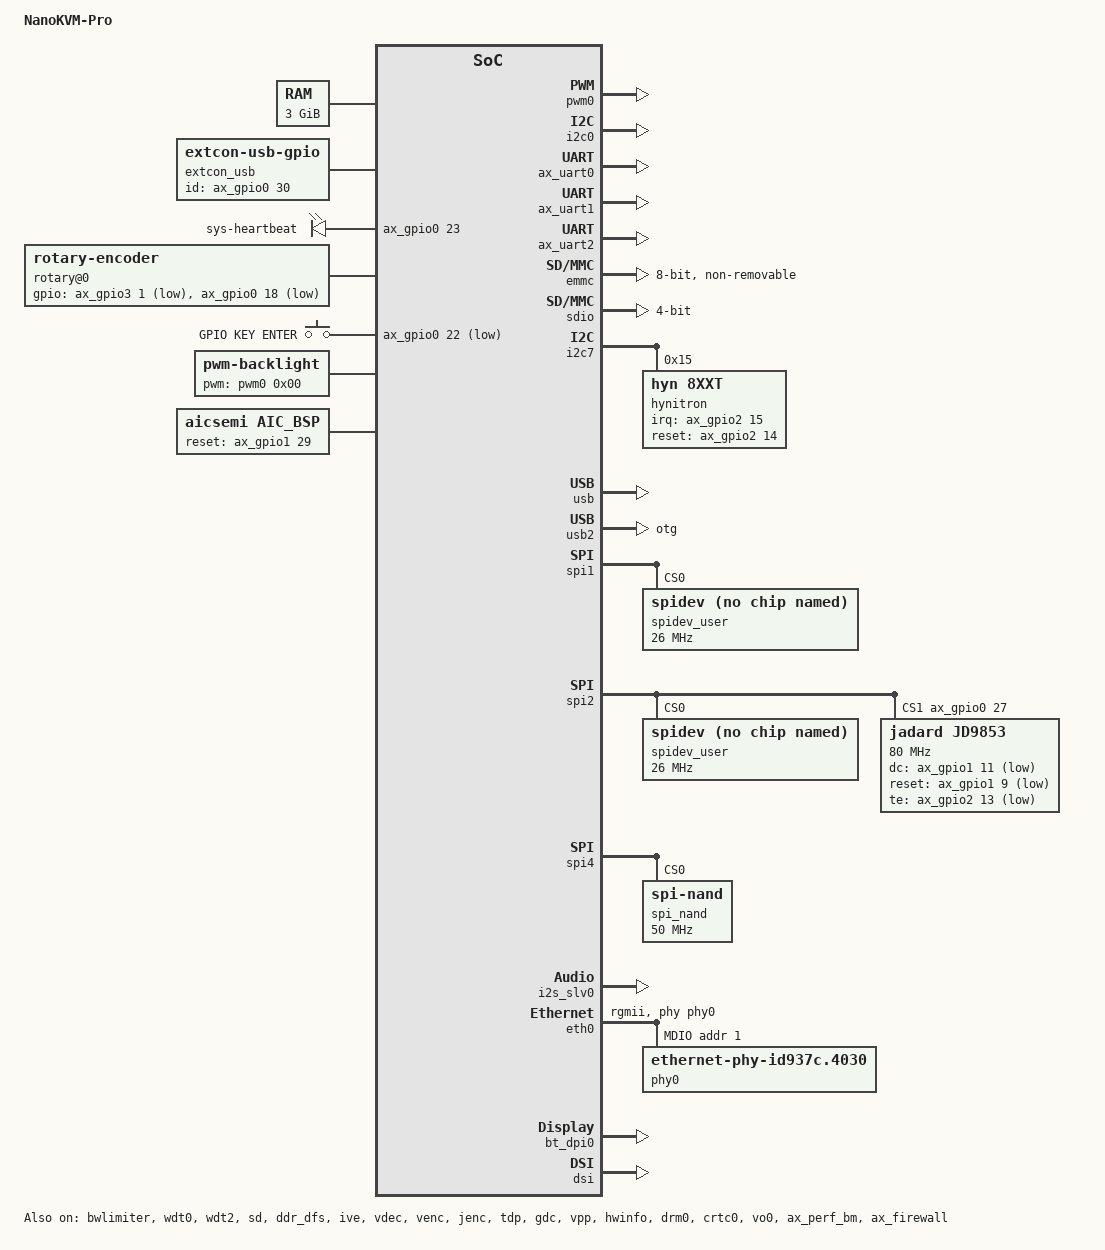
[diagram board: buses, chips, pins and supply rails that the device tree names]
// SPDX-License-Identifier: GPL-2.0
/**************************************************************************************************
 *
 * Copyright (c) 2019-2024 Axera Semiconductor Co., Ltd. All Rights Reserved.
 *
 * This dts file is the property of Axera Semiconductor Co., Ltd. and
 * may not be copied or distributed in any isomorphic form without the prior
 * written consent of Axera Semiconductor Co., Ltd.
 *
 **************************************************************************************************/

/dts-v1/;
#include "AX620E.dtsi"
/ {
	model = "NanoKVM-Pro";

	memory@40000000 {
		device_type = "memory";
		reg = <0x0 0x40000000 0x0 0xc0000000>;
	};
	reserved-memory {
		#address-cells = <2>;
		#size-cells = <2>;
		ranges;
/*
		boot_logo_reserved@70000036 {
			reg = <0x00 0x70000036 0x00 0x34bc00>;
			id = <0x00>;
			compatible = "boot_logo";
		};
*/
		ramoops_mem@48000000 {
			compatible = "ramoops";
			reg = <0x0 0x48000000 0x0 0xf0000>;
			record-size = <0x40000>;
			console-size = <0x80000>;
			ftrace-size = <0x20000>;
		};
		axera_memory_dump@0 {
			compatible = "axera_memory_dump";
			reg = <0x0 0x480f0000 0x0 0x3000>;
			dump_ranges = <0x00 0x40001000 0x01 0x00>;
			no-map;
		};
		atf_reserved: atf_memreserved {
			reg = <ATF_RESERVED_START_HI ATF_RESERVED_START_LO ATF_RESERVED_SIZE_HI ATF_RESERVED_SIZE_LO>;
			no-map;
		};
#ifdef OPTEE_BOOT
		optee_reserved: optee_memserved {
			reg = <OPTEE_RESERVED_START_HI OPTEE_RESERVED_START_LO OPTEE_RESERVED_SIZE_HI OPTEE_RESERVED_SIZE_LO>;
			no-map;
		};
#endif
		axera_ddr_retrain@0 {
			compatible = "axera_ddr_retrain";
			reg = <0x0 0x40000000 0x0 0x1000>;
		};
	};

	chosen {
		bootargs = "mem=704M earlycon=uart8250,mmio32,0x4880000 board_id=0x5,boot_reason=0x00,initcall_debug=0 loglevel=8 usbcore.autosuspend=-1 root=/dev/mmcblk0p17 rootfstype=ext4 rw rootwait blkdevparts=mmcblk0:768K(spl),512K(ddrinit),256K(atf),256K(atf_b),1536K(uboot),1536K(uboot_b),1M(env),6M(logo),6M(logo_b),1M(optee),1M(optee_b),1M(dtb),1M(dtb_b),64M(kernel),64M(kernel_b),128M(boot),-(rootfs) logomode=vo0@dpi logomode=vo0@dsi_dpi_video";
	};

	dummy_codec: dummy-codec {
		compatible = "dummy-codec";
		#sound-dai-cells = <0>;
	};

	sound {
		status = "okay";
		compatible = "simple-audio-card";
		simple-audio-card,name = "Lontium Lt6911UXC";
		simple-audio-card,format = "i2s";
		simple-audio-card,bitclock-master = <&codec>;
		simple-audio-card,frame-master = <&codec>;

		simple-audio-card,cpu {
			sound-dai = <&i2s_slv0>;
		};
		codec: simple-audio-card,codec {
			sound-dai = <&dummy_codec>;
		};
	};

	vfb0: vfb@0 {
		compatible = "axera,vfb";
		id = <0>;
		width = <480>;
		height = <640>;
		bpp = <32>;
		buf-num = <2>;
		status = "disabled";
	};

	vfb1: vfb@1 {
		compatible = "axera,vfb";
		id = <1>;
		width = <1920>;
		height = <1080>;
		bpp = <32>;
		buf-num = <2>;
		status = "disabled";
	};

	vfb2: vfb@2 {
		compatible = "axera,vfb";
		id = <2>;
		width = <64>;
		height = <64>;
		bpp = <32>;
		buf-num = <1>;
		cursor;
		status = "disabled";
	};

	axera_logctl {
		compatible = "axera,logctl";
		config = "/etc/ax_syslog.conf";
		logstate = /bits/ 8 <1 1>;
		loglevel = /bits/ 8 <4 4>;
	};

	extcon_usb: extcon_usb {
		compatible = "linux,extcon-usb-gpio";
		id-gpio = <&ax_gpio0 30 0>; /* GPIO0_A30 */
		status = "okay";
	};

	leds {
		status = "okay";
		compatible = "gpio-leds";
		pinctrl-names = "default";
		pinctrl-0 = <&sd_pwr_en_gpio0_a23_pins>;

		led-heartbeat {
			label = "sys-heartbeat";
			gpios = <&ax_gpio0 23 0x00>;
			linux,default-trigger = "heartbeat";
			status = "okay";
		};
	};

	rotary@0 {
		status = "okay";
		compatible = "rotary-encoder";
		pinctrl-names = "default";
		pinctrl-0 = <&gpio3_a1_pins &bond2_gpio0_a18_pins>;
		gpios = <&ax_gpio3 1 0x01 &ax_gpio0 18 0x01>;
		linux,axis = <0x00>;
		rotary-encoder,encoding = "gray";
		rotary-encoder,relative-axis;
		rotary-encoder,steps-per-period = <0x04>;
	};

	gpio_keys {
		status = "okay";
		compatible = "gpio-keys";
		pinctrl-names = "default";
		pinctrl-0 = <&tck_gpio0_a22_pins>;
		autorepeat;

		rokey {
			label = "GPIO KEY ENTER";
			linux,code = <0x1c>;
			gpios = <&ax_gpio0 22 0x01>;
			debounce-interval = <0x0a>;
		};
	};

	backlight {
		status = "okay";
		compatible = "pwm-backlight";
		pwms = <&pwm0 0x00 0x71073>;
		brightness-levels = <0x00 0x65>;
		num-interpolated-steps = <0x64>;
		default-brightness-level = <0x64>;
	};

	aic_bsp {
		compatible = "aicsemi,aic_bsp";
		reset-gpio = <&ax_gpio1 29 0x00>;
		pinctrl-names = "default";
		pinctrl-0 = <&ephy_led1_gpio1_a29_pins>;
		status = "okay";
	};
};

&pwm0 {
	pinctrl-names = "default";
	pinctrl-0 = <&emac_ptp_pps0_pwm0_m_pins>;
	status = "okay";
};

&pwm1 {
	status = "disabled";
};

&pwm2 {
	status = "disabled";
};

&deb_gpio_lp {
	lp-status = <11 1>;/* use db_gpio11 as wakeup source */
	status = "okay";
};

&bwlimiter {
	status = "okay";
};

&i2c0 {
	status = "okay";
	/delete-property/ pinctrl-names;
	/delete-property/ pinctrl-0;
	/delete-property/ pinctrl-1;
};

&i2c1 {
	/delete-property/ pinctrl-names;
	/delete-property/ pinctrl-0;
	/delete-property/ pinctrl-1;
};

&i2c2 {
	status = "disabled";
};

&i2c3 {
	status = "disabled";
};

&i2c_slv0 {
	status = "disabled";
	#address-cells = <0x1>;
	#size-cells = <0x0>;
	i2c_slave_eeprom: i2c_slave_eeprom@55 {
		compatible = "axera,slave-24c02";
		reg = <0x40000055>;
		status = "okay";
	};
};

&ax_uart0 {
	status = "okay";
};

&ax_uart1 {
	status = "okay";
};

&ax_uart2 {
	status = "okay";
};

&ax_uart5 {
	status = "disabled";
	pinctrl-names = "default";
	pinctrl-0 = <&emac_ptp_pps0_uart5_cts_pins
		&emac_ptp_pps1_uart5_rts_pins
		&emac_ptp_pps2_uart5_txd_pins
		&emac_ptp_pps3_uart5_rxd_pins>;
};

&wdt0 {
	status = "okay";
};

&wdt2 {
	status = "okay";
};

&emmc{
	max-frequency = <200000000>;
	sdhci-caps-mask = <0x2 0x03200000>;
	bus-width = <8>;
	no-sdio;
	no-sd;
	non-removable;
	disable-wp;
	cap-mmc-hw-reset;
	/* AX630C use GPIO2_A23 */
	hw-reset = <&ax_gpio2 23 0>;
	/* AX620Q use GPIO1_A0 */
	/* hw-reset = <&ax_gpio1 0 0>; */
	cap-mmc-highspeed;
	mmc-hs200-1_8v;
	mmc-hs400-1_8v;
	mmc-hs400-enhanced-strobe;
	cdns,phy-input-delay-sd-highspeed = <2>;
	cdns,phy-input-delay-legacy = <4>;
	cdns,phy-input-delay-sd-uhs-sdr12 = <1>;
	cdns,phy-input-delay-sd-uhs-sdr25 = <2>;
	cdns,phy-input-delay-sd-uhs-sdr50 = <1>;
	cdns,phy-input-delay-sd-uhs-ddr50 = <2>;
	cdns,phy-input-delay-mmc-legacy = <1>;
	cdns,phy-input-delay-mmc-highspeed = <2>;
	cdns,phy-input-delay-mmc-ddr = <2>;
	cdns,phy-dll-delay-sdclk = <45>;
	cdns,phy-dll-delay-sdclk-hsmmc = <31>;
	cdns,phy-dll-delay-strobe = <18>;
	fixed-emmc-driver-type = <4>;
	status = "okay";
};

&sd{
	sdhci-caps-mask = <0x7 0x00200000>;
	bus-width = <4>;
	max-frequency = <200000000>;
	cap-sd-highspeed;
	sd-uhs-sdr12;
	sd-uhs-sdr25;
	sd-uhs-sdr50;
	sd-uhs-ddr50;
	sd-uhs-sdr104;
	no-sdio;
	no-mmc;
	disable-wp;
#if 1
	broken-cd;
#else
	cd-gpios = <&ax_gpio1 11 0>;
	cd-inverted;
	cd-debounce-delay-ms = <300>;
#endif

	cdns,phy-input-delay-sd-highspeed = <2>;
	cdns,phy-input-delay-legacy = <3>;
	cdns,phy-input-delay-sd-uhs-sdr12 = <3>;
	cdns,phy-input-delay-sd-uhs-sdr25 = <2>;
	cdns,phy-input-delay-sd-uhs-sdr50 = <1>;
	cdns,phy-input-delay-sd-uhs-ddr50 = <1>;
	cdns,phy-dll-delay-sdclk = <0>;

	status = "okay";
};

&sdio{
	sdhci-caps-mask = <0x7 0x00200000>;
	bus-width = <4>;
	max-frequency = <200000000>;
	cap-sd-highspeed;
	sd-uhs-sdr25;
	sd-uhs-sdr12;
	sd-uhs-sdr50;
	sd-uhs-ddr50;
	//sd-uhs-sdr104;
	no-1-8-v;
	no-sd;
	no-mmc;
	disable-wp;
	broken-cd;
	//vol-sw-gpio = <&ax_gpio0 17 0>;
	cdns,phy-input-delay-sd-highspeed = <2>;
	cdns,phy-input-delay-legacy = <3>;
	cdns,phy-input-delay-sd-uhs-sdr12 = <3>;
	cdns,phy-input-delay-sd-uhs-sdr25 = <2>;
	cdns,phy-input-delay-sd-uhs-sdr50 = <1>;
	cdns,phy-input-delay-sd-uhs-ddr50 = <1>;
	cdns,phy-dll-delay-sdclk = <0>;

	status = "okay";
};

&i2c4 {
	status = "disabled";
};

&i2c6 {
	/delete-property/ pinctrl-names;
	/delete-property/ pinctrl-0;
	/delete-property/ pinctrl-1;
};

&i2c7 {
	#address-cells = <1>;
	#size-cells = <0>;
	status = "okay";
	/delete-property/ pinctrl-names;
	/delete-property/ pinctrl-0;
	/delete-property/ pinctrl-1;

	hynitron: hynitron@15 {
		compatible = "hyn,8xxt";
		reg = <0x15>;
		pinctrl-names = "ts_active", "ts_suspend";
		pinctrl-0 = <&cdtx_l2p_gpio2_a15_pins &cdtx_l2n_gpio2_a14_pins>;
		pinctrl-1 = <&cdtx_l2p_gpio2_a15_pins &cdtx_l2n_gpio2_a14_pins>;
		irq-gpio = <&ax_gpio2 15 0x00>;
		reset-gpio = <&ax_gpio2 14 0x00>;
		max-touch-number = <0x05>;
		display-coords = <0x00 0x00 0xac 0x140>;
		pos-swap = <0x00>;
		posx-reverse = <0x00>;
		posy-reverse = <0x00>;
		status = "okay";
	};
};

&usb {
	status = "okay";
};

&usb2 {
	dr_mode = "otg";
	extcon = <&extcon_usb>;
};

&spi0 {
       status = "disabled";
       spidev_user@0 {
               status = "okay";
               compatible = "axera,spidev";
               reg = <0>;
               spi-max-frequency = <26000000>;
       };
};

&spi1 {
	status = "okay";
	pinctrl-0 = <&vi_d0_spi_m1_mosi_pins>;
	/delete-property/ cs-gpios;

	spidev_user@0 {
		status = "okay";
		compatible = "axera,spidev";
		reg = <0>;
		spi-max-frequency = <26000000>;
	};
};

&spi2 {
	status = "okay";
	pinctrl-0 = <&uart3_txd_spi_m2_mosi_pins
		&i2c1_scl_spi_m2_sclk_pins
		&i2c1_sda_gpio0_a27_pins
		&emac_ptp_pps3_gpio1_a11_pins
		&emac_ptp_pps1_gpio1_a9_pins
		&cdtx_l1p_gpio2_a13_pins>;
	cs-gpios = <0>, <&ax_gpio0 27 0>;
	num-cs = <2>;

	spidev_user@0 {
		status = "okay";
		compatible = "axera,spidev";
		reg = <0>;
		spi-max-frequency = <26000000>;
	};

	jd9853: jd9853@1 {
		compatible = "jadard,jd9853";
		reg = <0x01>;
		status = "okay";
		spi-max-frequency = <0x4c4b400>;
		spi-cpol;
		spi-cpha;
		rotate = <0x00>;
		fps = <0x5a>;
		rgb;
		buswidth = <0x08>;
		dc-gpios = <&ax_gpio1 11 0x01>;
		reset-gpios = <&ax_gpio1 9 0x01>;
		te-gpios = <&ax_gpio2 13 0x01>;
		debug = <0x01>;
	};
};

&spi_slv {
       status = "disabled";
       stream-tx-gpio = <&ax_gpio2 13 0>;
       stream-rx-gpio = <&ax_gpio2 14 0>;
};

&spi4 {
	status = "okay";
	spi_nand@0 {
		compatible = "spi-nand";
		reg = <0>;
		rx-sample-delay-ns = <4>;
		spi-max-frequency = <50000000>;
	};
	/*spi_flash@0 {
		#address-cells = <1>;
		#size-cells = <1>;
		compatible = "jedec,spi-nor";
		reg = <0>;
		spi-max-frequency = <50000000>;
	};*/
};

&audio_codec {
	gpio-mic-rp = <&ax_gpio1 7 0>; /* GPIO1_A7 */
	gpio-mic-rn = <&ax_gpio1 6 0>; /* GPIO1_A6 */
	gpio-mic-ln = <&ax_gpio1 5 0>; /* GPIO1_A5 */
	gpio-mic-lp = <&ax_gpio1 4 0>; /* GPIO1_A4 */
	gpio-pa-speaker = <&ax_gpio1 17 0x00>;
	status = "disabled";
};
&i2s_inner_mst0 {
	status = "disabled";
	interrupt-names = "i2s_mst";
	interrupts = <GIC_SPI 147 IRQ_TYPE_LEVEL_HIGH>;
	/*i2s - pad0*/
	i2s-m-aec-cycle-sel = <0>;    /*23-22*/
	i2s-m-aec-sclk-sel = <0>;     /*21*/
	i2s-inner-codec-en = <1>;     /*20*/
	i2s-exter-codec-en = <0>;     /*19*/
	i2s-m-exter-codec-en = <0>;   /*18*/
	i2s-exter-codec-mst = <0>;    /*17*/
	i2s-m-exter-codec-mst = <0>;  /*16*/
	iis-out-tdm-en = <0>;         /*15*/
	iis-m-out-tdm-en = <0>;       /*14*/
	i2s-m-rx0-sel = <0>;          /*13*/
	i2s-m-rx1-sel = <0>;          /*12-11*/
	i2s-s-rx0-sel = <0>;          /*10-9*/
	i2s-s-rx1-sel = <2>;          /*8-7*/
	i2s-s-sclk-sel = <0>;         /*6-5*/
	tdm-m-rx-sel = <0>;           /*4-3*/
	tdm-s-rx-sel = <0>;           /*2-1*/
	tdm-s-sclk-sel = <0>;         /*0*/
};

&i2s_inner_slv0 {
	status = "disabled";
	interrupt-names = "i2s_slv";
	interrupts = <GIC_SPI 145 IRQ_TYPE_LEVEL_HIGH>;
	/*i2s - pad0*/
	i2s-m-aec-cycle-sel = <0>;    /*23-22*/
	i2s-m-aec-sclk-sel = <0>;     /*21*/
	i2s-inner-codec-en = <1>;     /*20*/
	i2s-exter-codec-en = <0>;     /*19*/
	i2s-m-exter-codec-en = <0>;   /*18*/
	i2s-exter-codec-mst = <0>;    /*17*/
	i2s-m-exter-codec-mst = <0>;  /*16*/
	iis-out-tdm-en = <0>;         /*15*/
	iis-m-out-tdm-en = <0>;       /*14*/
	i2s-m-rx0-sel = <0>;          /*13*/
	i2s-m-rx1-sel = <0>;          /*12-11*/
	i2s-s-rx0-sel = <0>;          /*10-9*/
	i2s-s-rx1-sel = <2>;          /*8-7*/
	i2s-s-sclk-sel = <0>;         /*6-5*/
	tdm-m-rx-sel = <0>;           /*4-3*/
	tdm-s-rx-sel = <0>;           /*2-1*/
	tdm-s-sclk-sel = <0>;         /*0*/
};

&i2s_mst0 {
	status = "disabled";
	interrupt-names = "i2s_mst";
	interrupts = <GIC_SPI 147 IRQ_TYPE_LEVEL_HIGH>;
	/*i2s - pad0*/
	i2s-m-aec-cycle-sel = <0>;    /*23-22*/
	i2s-m-aec-sclk-sel = <0>;     /*21*/
	i2s-inner-codec-en = <0>;     /*20*/
	i2s-exter-codec-en = <1>;     /*19*/
	i2s-m-exter-codec-en = <0>;   /*18*/
	i2s-exter-codec-mst = <1>;    /*17*/
	i2s-m-exter-codec-mst = <0>;  /*16*/
	iis-out-tdm-en = <0>;         /*15*/
	iis-m-out-tdm-en = <0>;       /*14*/
	i2s-m-rx0-sel = <0>;          /*13*/
	i2s-m-rx1-sel = <2>;          /*12-11*/
	i2s-s-rx0-sel = <0>;          /*10-9*/
	i2s-s-rx1-sel = <0>;          /*8-7*/
	i2s-s-sclk-sel = <0>;         /*6-5*/
	tdm-m-rx-sel = <0>;           /*4-3*/
	tdm-s-rx-sel = <0>;           /*2-1*/
	tdm-s-sclk-sel = <0>;         /*0*/
};

&i2s_slv0 {
	status = "okay";
	interrupt-names = "i2s_slv";
	interrupts = <GIC_SPI 145 IRQ_TYPE_LEVEL_HIGH>;
	/*i2s - pad0*/
	i2s-m-aec-cycle-sel = <0>;    /*23-22*/
	i2s-m-aec-sclk-sel = <0>;     /*21*/
	i2s-inner-codec-en = <0>;     /*20*/
	i2s-exter-codec-en = <1>;     /*19*/
	i2s-m-exter-codec-en = <0>;   /*18*/
	i2s-exter-codec-mst = <0>;    /*17*/
	i2s-m-exter-codec-mst = <0>;  /*16*/
	iis-out-tdm-en = <0>;         /*15*/
	iis-m-out-tdm-en = <0>;       /*14*/
	i2s-m-rx0-sel = <0>;          /*13*/
	i2s-m-rx1-sel = <0>;          /*12-11*/
	i2s-s-rx0-sel = <3>;          /*10-9*/
	i2s-s-rx1-sel = <0>;          /*8-7*/
	i2s-s-sclk-sel = <1>;         /*6-5*/
	tdm-m-rx-sel = <0>;           /*4-3*/
	tdm-s-rx-sel = <0>;           /*2-1*/
	tdm-s-sclk-sel = <0>;         /*0*/
};

&i2s_tdm_mst0 {
	status = "disabled";
	/*i2s - pad0*/
	i2s-m-aec-cycle-sel = <0>;    /*23-22*/
	i2s-m-aec-sclk-sel = <0>;     /*21*/
	i2s-inner-codec-en = <0>;     /*20*/
	i2s-exter-codec-en = <1>;     /*19*/
	i2s-m-exter-codec-en = <0>;   /*18*/
	i2s-exter-codec-mst = <1>;    /*17*/
	i2s-m-exter-codec-mst = <0>;  /*16*/
	iis-out-tdm-en = <1>;         /*15*/
	iis-m-out-tdm-en = <0>;       /*14*/
	i2s-m-rx0-sel = <0>;          /*13*/
	i2s-m-rx1-sel = <0>;          /*12-11*/
	i2s-s-rx0-sel = <0>;          /*10-9*/
	i2s-s-rx1-sel = <0>;          /*8-7*/
	i2s-s-sclk-sel = <0>;         /*6-5*/
	tdm-m-rx-sel = <0>;           /*4-3*/
	tdm-s-rx-sel = <0>;           /*2-1*/
	tdm-s-sclk-sel = <0>;         /*0*/
};

&i2s_tdm_slv0 {
	status = "disabled";
	/*i2s - pad0*/
	i2s-m-aec-cycle-sel = <0>;    /*23-22*/
	i2s-m-aec-sclk-sel = <0>;     /*21*/
	i2s-inner-codec-en = <0>;     /*20*/
	i2s-exter-codec-en = <1>;     /*19*/
	i2s-m-exter-codec-en = <0>;   /*18*/
	i2s-exter-codec-mst = <0>;    /*17*/
	i2s-m-exter-codec-mst = <0>;  /*16*/
	iis-out-tdm-en = <0>;         /*15*/
	iis-m-out-tdm-en = <0>;       /*14*/
	i2s-m-rx0-sel = <0>;          /*13*/
	i2s-m-rx1-sel = <0>;          /*12-11*/
	i2s-s-rx0-sel = <0>;          /*10-9*/
	i2s-s-rx1-sel = <0>;          /*8-7*/
	i2s-s-sclk-sel = <0>;         /*6-5*/
	tdm-m-rx-sel = <0>;           /*4-3*/
	tdm-s-rx-sel = <0>;           /*2-1*/
	tdm-s-sclk-sel = <0>;         /*0*/
};

#if 1
&eth0 {
	status = "okay";

	phy-handle = <&phy0>;
	phy-mode = "rgmii";
	phy-rst-gpio = <&ax_gpio1 27 0>; /* GPIO1_A27 */

	mdio {
		#address-cells = <1>;
		#size-cells = <0>;
		compatible = "snps,dwmac-mdio";
		phy0: jl2xxx-phy@1 {
			compatible = "ethernet-phy-id937c.4030";
			jl2xxx,led-enable = <JL2XXX_LED_CTRL_EN>;
			jl2xxx,led-mode = <JL2XXX_CFG_LED_MODE>;
			jl2xxx,led-period = <JL2XXX_GLOBAL_PERIOD_MS>;
			jl2xxx,led-on = <JL2XXX_GLOBAL_ON_MS>;
			jl2xxx,led-polarity = <JL2XXX_LED_POLARITY>;
			jl2xxx,patch-enable = <JL2XXX_PATCH_CTRL_EN>;
			jl2xxx,rgmii-enable = <JL2XXX_RGMII_CTRL_EN>;
			//jl2xxx,rgmii-tx-delay = <JL2XXX_RGMII_TX_DLY_2NS>;
			//jl2xxx,rgmii-rx-delay = <JL2XXX_RGMII_RX_DLY_2NS>;
			jl2xxx,clk-enable = <JL2XXX_CLK_CTRL_EN>;
			jl2xxx,fld-enable = <JL2XXX_FLD_CTRL_EN>;
			jl2xxx,fld-delay = <JL2XXX_FLD_DELAY>;
			jl2xxx,wol-enable = <JL2XXX_WOL_CTRL_EN>;
			jl2xxx,interrupt-enable = <JL2XXX_INTR_CTRL_EN>;
			jl2xxx,downshift-enable = <JL2XXX_DSFT_CTRL_EN>;
			jl2xxx,downshift-count = <JL2XXX_DSFT_AN_CNT>;
			jl2xxx,work_mode-enable = <JL2XXX_WORK_MODE_CTRL_EN>;
			jl2xxx,work_mode-mode = <JL2XXX_WOEK_MODE_MODE>;
			jl2xxx,lpbk-enable = <JL2XXX_LPBK_CTRL_EN>;
			jl2xxx,lpbk-mode = <JL2XXX_LPBK_MODE>;
			jl2xxx,slew_rate-enable = <JL2XXX_SLEW_RATE_CTRL_EN>;
			jl2xxx,rxc_out-enable = <JL2XXX_RXC_OUT_CTRL_EN>;
			reg = <1>;
		};
	};
};
#else
&eth0 {
	status = "okay";

	phy-handle = <&phy0>;
	phy-mode = "rmii";
	axera-ephy,led0-mode = <EPHY_LED_SPEED>;
	axera-ephy,led0-enable;
	axera-ephy,led1-mode = <EPHY_LED_LINK>;
	axera-ephy,led1-enable;
	axera-ephy,led-polarity = <EPHY_LED_LOW_ACTIVE>;
	mdio {
		#address-cells = <1>;
		#size-cells = <0>;
		compatible = "snps,dwmac-mdio";
		phy0: axera-ephy@1 {
			device_tpye = "ethernet-phy";
			compatible = "ethernet-phy-id0044.1400";
			reg = <1>;
		};
	};
};
#endif

&ddr_dfs {
       status = "okay";
};

&ive {
	status = "okay";
};

&vdec {
	status = "okay";
};

&venc {
	status = "okay";
};

&jenc {
	status = "okay";
};

&tdp {
	status = "okay";
};

&gdc {
	status = "okay";
};

&vpp {
	status = "okay";
};

&axera_rtc_pwr {
        status = "disabled";
};

&hwinfo {
	status = "okay";
};

&drm0 {
	status = "okay";

/*
	init-mode {
		de-active = <0x00>;
		vsync-active = <0x00>;
		hsync-active = <0x00>;
		vback-porch = <0x20>;
		vsync-len = <0x08>;
		vfront-porch = <0x0d>;
		vactive = <0x1e0>;
		hback-porch = <0x58>;
		hsync-len = <0x1e>;
		hfront-porch = <0x0a>;
		hactive = <0x320>;
		clock-frequency = <0x1c52fa0>;
		interface-type = <0x04>;
	};
*/
};

&drm1 {
	status = "disable";
};

&crtc0 {
	status = "okay";
};

&crtc1 {
	status = "disable";
};

&vo0 {
	vo-chn-max = <0x10>;
	vo-poly-line-width = <0x10>;
	status = "okay";
};

&vo1 {
	vo-chn-max = <0x10>;
	vo-poly-line-width = <0x10>;
	status = "disable";
};

&bt_dpi0 {
	status = "okay";
};

&bt_dpi1 {
	status = "disable";
};

&dsi {
	status = "okay";
};

&dma {
	status = "okay";
};

&dma_per {
	status = "okay";
};

&dmac {
	status = "okay";
};

&ax_perf_bm {
	status = "okay";
};

&ax_firewall {
	status = "okay";
};

&panel_dsi {
	status = "disabled";
	prepare-delay-ms = <0>;
	unprepare-delay-ms = <0>;
	enable-delay-ms = <0>;
	disable-delay-ms = <150>;
	//reset-gpio = <&ax_gpio1 0 0>;
	reset-gpio = <&ax_gpio0 23 0x00>;
	pinctrl-names = "default";
	pinctrl-0 = <&sd_pwr_en_gpio0_a23_pins>;

	dsi,format = <MIPI_DSI_FMT_RGB888>;
	dsi,lanes = <2>;
	dsi,flags = <(MIPI_DSI_MODE_VIDEO_SYNC_PULSE | MIPI_DSI_MODE_VIDEO | MIPI_DSI_MODE_LPM |MIPI_DSI_CLOCK_NON_CONTINUOUS )>;
	panel-init-seq = [39 3c 06 ff 77 01 00 00 13
                          15 00 02 ef 08
                          39 00 06 ff 77 01 00 00 10
                          39 00 03 c0 4f 00
                          39 00 03 c1 10 0c
                          39 00 03 c2 01 14
                          15 00 02 cc 10
                          39 00 11 b0 00 0b 13 0d 10 07 02 08 07 1f 04 11 0f 28 2f 1f
                          39 00 11 b1 00 0c 13 0c 10 05 02 08 08 1e 05 13 11 27 30 1f
                          39 00 06 ff 77 01 00 00 11
                          15 00 02 b0 4d
                          15 00 02 b1 6a
                          15 00 02 b2 87
                          15 00 02 b3 80
                          15 00 02 b5 45
                          15 00 02 b7 85
                          15 00 02 b8 20
                          15 00 02 c1 78
                          15 00 02 c2 78
                          15 64 02 d0 88
                          39 00 04 e0 00 00 02
                          39 00 0c e1 04 b0 06 b0 05 b0 07 b0 00 44 44
                          39 00 0d e2 20 20 44 44 96 a0 00 00 96 a0 00 00
                          39 00 05 e3 00 00 22 22
                          39 00 03 e4 44 44
                          39 00 11 e5 0c 90 b0 a0 0e 92 b0 a0 08 8c b0 a0 0a 8e b0 a0
                          39 00 05 e6 00 00 22 22
                          39 00 03 e7 44 44
                          39 00 11 e8 0d 91 b0 a0 0f 93 b0 a0 09 8d b0 a0 0b 8f b0 a0
                          39 00 03 e9 36 00
                          39 00 08 eb 00 00 e4 e4 44 88 40
                          39 00 11 ed f1 b2 ac 0f 67 45 ff ff ff ff 54 76 f0 ca 2b 1f
                          39 00 07 ef 10 0d 04 08 3f 1f
                          39 00 06 ff 77 01 00 00 13
                          39 00 03 e8 00 0e
                          39 00 06 ff 77 01 00 00 00
                          05 78 01 11
                          39 00 06 ff 77 01 00 00 13
                          39 0a 04 11 e8 00 0c
                          39 00 03 e8 00 00
                          39 00 06 ff 77 01 00 00 00
                          15 00 02 36 10
                          05 14 01 29];
	panel-exit-seq = [05 00 01 10];

	dsi-panel_esd_check_enable = /bits/ 8 <0>;
	dsi-panel-check-mode = /bits/ 8 <0>;
	dsi-panel-read-reg = /bits/ 8 <0x0A>;
	dsi-panel-read-length = /bits/ 8 <1>;
	dsi-panel-max-error-count = /bits/ 8 <3>;
	dsi-panel-status-value = /bits/ 8 <0x9D>;
	dsi-panel-check-interval-ms = <2000>;
};

&panel0 {
	status = "disable";
};

&panel1 {
	status = "disable";
};

&lvdstx {
	status = "disable";
};

&panel_lvds {
	status = "disable";
	data-mapping = "vesa-24";
};
